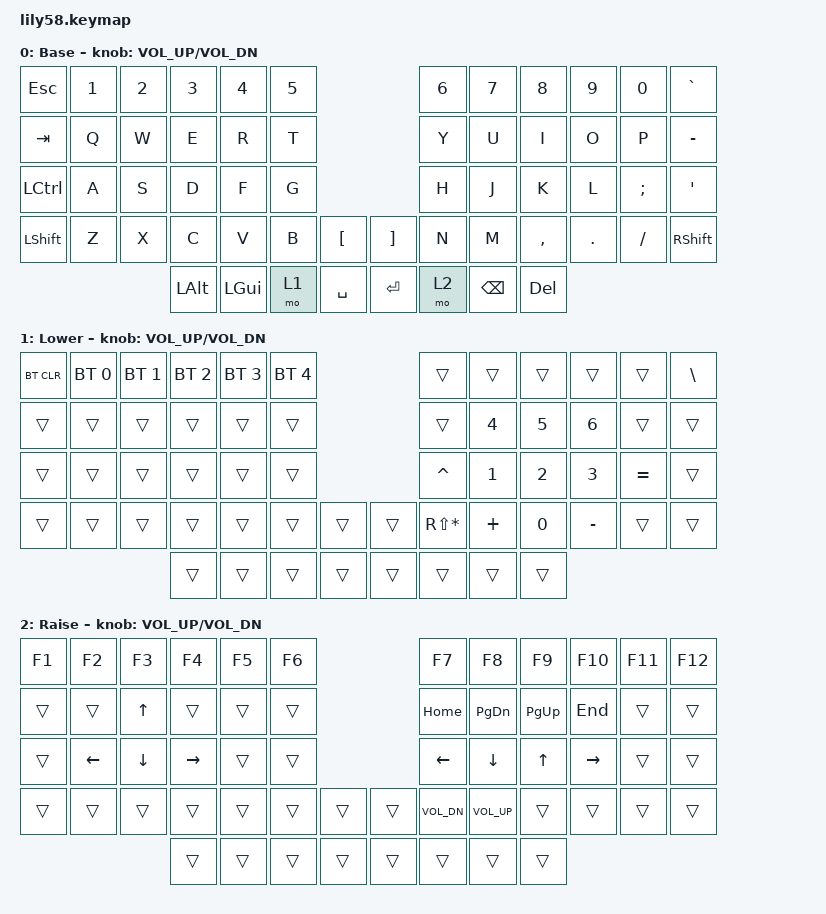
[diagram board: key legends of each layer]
/*
 * Copyright (c) 2020 The ZMK Contributors
 *
 * SPDX-License-Identifier: MIT
 */

#include <behaviors.dtsi>
#include <dt-bindings/zmk/bt.h>
#include <dt-bindings/zmk/keys.h>

/ {
    keymap {
        compatible = "zmk,keymap";

        default_layer {
            // ------------------------------------------------------------------------------------------------------------
            // |  ESC  |  1  |  2  |  3   |  4   |  5   |                   |  6   |  7    |  8    |  9   |   0   |   `   |
            // |  TAB  |  Q  |  W  |  E   |  R   |  T   |                   |  Y   |  U    |  I    |  O   |   P   |   -   |
            // |  CTRL |  A  |  S  |  D   |  F   |  G   |                   |  H   |  J    |  K    |  L   |   ;   |   '   |
            // | SHIFT |  Z  |  X  |  C   |  V   |  B   |   "["  |  |  "]"  |  N   |  M    |  ,    |  .   |   /   | SHIFT |
            //                     | ALT  | GUI  | LOWER|  SPACE |  | ENTER | RAISE| BSPC  | GUI   |

            display-name = "Base";
            bindings = <
&kp ESC    &kp N1  &kp N2  &kp N3    &kp N4    &kp N5                         &kp N6  &kp N7    &kp N8      &kp N9   &kp N0    &kp GRAVE
&kp TAB    &kp Q   &kp W   &kp E     &kp R     &kp T                          &kp Y   &kp U     &kp I       &kp O    &kp P     &kp MINUS
&kp LCTRL  &kp A   &kp S   &kp D     &kp F     &kp G                          &kp H   &kp J     &kp K       &kp L    &kp SEMI  &kp SQT
&kp LSHFT  &kp Z   &kp X   &kp C     &kp V     &kp B   &kp LBKT     &kp RBKT  &kp N   &kp M     &kp COMMA   &kp DOT  &kp FSLH  &kp RSHFT
                           &kp LALT  &kp LGUI  &mo 1   &kp SPACE    &kp RET   &mo 2   &kp BSPC  &kp DELETE
            >;

            sensor-bindings = <&inc_dec_kp C_VOL_UP C_VOL_DN>;
        };

        lower_layer {
            // ------------------------------------------------------------------------------------------------------------
            // | BTCLR | BT1 | BT2 |  BT3 |  BT4 |  BT5 |                   |      |       |       |      |       |       |
            // |  F1   |  F2 |  F3 |  F4  |  F5  |  F6  |                   |  F7  |  F8   |  F9   |  F10 |  F11  |  F12  |
            // |   `   |  !  |  @  |  #   |  $   |  %   |                   |  ^   |  &    |  *    |  (   |   )   |   ~   |
            // |       |     |     |      |      |      |        |  |       |      |  _    |  +    |  {   |   }   |  "|"  |
            //                     |      |      |      |        |  |       |      |       |       |

            display-name = "Lower";
            bindings = <
&bt BT_CLR  &bt BT_SEL 0  &bt BT_SEL 1  &bt BT_SEL 2  &bt BT_SEL 3  &bt BT_SEL 4                    &trans            &trans    &trans        &trans     &trans     &kp BACKSLASH
&trans      &trans        &trans        &trans        &trans        &trans                          &trans            &kp N4    &kp N5        &kp N6     &trans     &trans
&trans      &trans        &trans        &trans        &trans        &trans                          &kp CARET         &kp N1    &kp N2        &kp N3     &kp EQUAL  &trans
&trans      &trans        &trans        &trans        &trans        &trans        &trans    &trans  &kp RS(ASTERISK)  &kp PLUS  &kp NUMBER_0  &kp MINUS  &trans     &trans
                                        &trans        &trans        &trans        &trans    &trans  &trans            &trans    &trans
            >;

            sensor-bindings = <&inc_dec_kp C_VOL_UP C_VOL_DN>;
        };

        raise_layer {
            // ------------------------------------------------------------------------------------------------------------
            // |       |     |     |      |      |      |                   |      |       |       |      |       |       |
            // |   `   |  1  |  2  |  3   |  4   |  5   |                   |  6   |   7   |   8   |  9   |   0   |       |
            // |   F1  |  F2 |  F3 |  F4  |  F5  |  F6  |                   |      |   <-  |   v   |  ^   |  ->   |       |
            // |   F7  |  F8 |  F9 |  F10 |  F11 |  F12 |        |  |       |  +   |   -   |   =   |  [   |   ]   |   \   |
            //                     |      |      |      |        |  |       |      |       |       |

            display-name = "Raise";
            bindings = <
&kp F1  &kp F2    &kp F3    &kp F4     &kp F5  &kp F6                    &kp F7        &kp F8         &kp F9       &kp F10    &kp F11  &kp F12
&trans  &trans    &kp UP    &trans     &trans  &trans                    &kp HOME      &kp PAGE_DOWN  &kp PAGE_UP  &kp END    &trans   &trans
&trans  &kp LEFT  &kp DOWN  &kp RIGHT  &trans  &trans                    &kp LEFT      &kp DOWN       &kp UP       &kp RIGHT  &trans   &trans
&trans  &trans    &trans    &trans     &trans  &trans  &trans    &trans  &kp C_VOL_DN  &kp C_VOL_UP   &trans       &trans     &trans   &trans
                            &trans     &trans  &trans  &trans    &trans  &trans        &trans         &trans
            >;

            sensor-bindings = <&inc_dec_kp C_VOL_UP C_VOL_DN>;
        };

        extra_1 { status = "reserved"; };

        extra_2 { status = "reserved"; };

        extra_3 { status = "reserved"; };
    };
};
